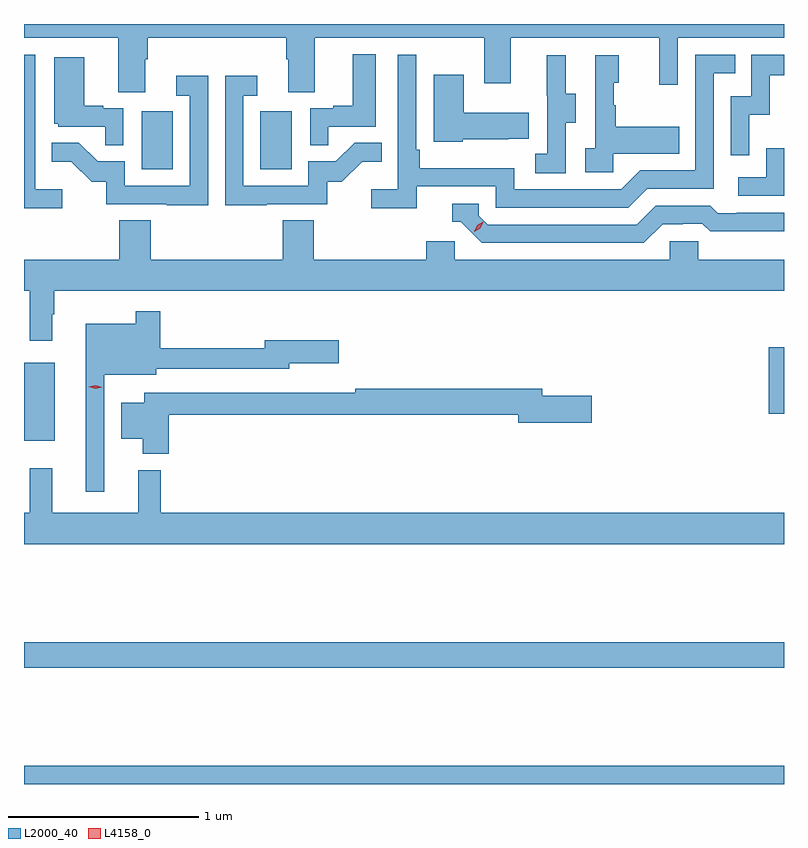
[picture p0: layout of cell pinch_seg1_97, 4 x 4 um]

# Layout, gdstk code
import gdstk
lib = gdstk.Library(unit=1e-6, precision=1e-09)
def R(c, l, rs):  # rectangles x0, y0, x1, y1
    for r in rs: c.add(gdstk.rectangle(r[:2], r[2:], *l))
def P(c, l, *ps):  # polygons
    for p in ps: c.add(gdstk.Polygon(p, *l))
L2000_40 = (2000, 40)
L4158_0 = (4158, 0)

pinch_seg1_97 = lib.new_cell('pinch_seg1_97')
R(pinch_seg1_97, L2000_40, [(1033.428,559.793,1037.428,559.888), (1033.428,560.404,1037.428,560.54), (1033.428,561.599,1033.591,562.009), (1037.348,561.743,1037.428,562.092), (1034.048,563.028,1034.212,563.335), (1034.672,563.028,1034.836,563.335)])
P(pinch_seg1_97, L2000_40, [(1033.428,563.72),(1033.925,563.72),(1033.925,563.434),(1034.065,563.434),(1034.065,563.608),(1034.078,563.608),(1034.078,563.72),(1034.807,563.72),(1034.807,563.608),(1034.819,563.608),(1034.819,563.434),(1034.959,563.434),(1034.959,563.72),(1035.851,563.72),(1035.851,563.481),(1035.991,563.481),(1035.991,563.72),(1036.772,563.72),(1036.772,563.472),(1036.869,563.472),(1036.869,563.72),(1037.428,563.72),(1037.428,563.793),(1033.428,563.793)],
  [(1035.029,563.253),(1035.28,563.253),(1035.28,563.635),(1035.158,563.635),(1035.158,563.362),(1035.055,563.362),(1035.055,563.349),(1034.934,563.349),(1034.934,563.155),(1035.029,563.155)],
  [(1035.494,562.938),(1035.912,562.938),(1035.912,562.827),(1036.609,562.827),(1036.708,562.926),(1037.058,562.926),(1037.058,563.535),(1037.171,563.535),(1037.171,563.631),(1036.962,563.631),(1036.962,563.022),(1036.671,563.022),(1036.572,562.923),(1036.008,562.923),(1036.008,563.035),(1035.512,563.035),(1035.512,563.131),(1035.492,563.131),(1035.492,563.632),(1035.396,563.632),(1035.396,562.924),(1035.255,562.924),(1035.255,562.822),(1035.494,562.822)],
  [(1033.63,562.924),(1033.488,562.924),(1033.488,563.632),(1033.428,563.632),(1033.428,562.822),(1033.63,562.822)],
  [(1037.244,563.315),(1037.353,563.315),(1037.353,563.523),(1037.428,563.523),(1037.428,563.631),(1037.256,563.631),(1037.256,563.412),(1037.148,563.412),(1037.148,563.103),(1037.244,563.103)],
  [(1036.278,563.272),(1036.333,563.272),(1036.333,563.427),(1036.279,563.427),(1036.279,563.629),(1036.18,563.629),(1036.18,563.415),(1036.182,563.415),(1036.182,563.111),(1036.119,563.111),(1036.119,563.008),(1036.278,563.008)],
  [(1036.53,563.111),(1036.877,563.111),(1036.877,563.251),(1036.543,563.251),(1036.543,563.366),(1036.533,563.366),(1036.533,563.484),(1036.558,563.484),(1036.558,563.629),(1036.434,563.629),(1036.434,563.138),(1036.382,563.138),(1036.382,563.013),(1036.53,563.013)],
  [(1033.95,563.349),(1033.844,563.349),(1033.844,563.362),(1033.744,563.362),(1033.744,563.617),(1033.586,563.617),(1033.586,563.268),(1033.608,563.268),(1033.608,563.253),(1033.855,563.253),(1033.855,563.155),(1033.95,563.155)],
  [(1035.738,563.186),(1035.977,563.186),(1035.977,563.189),(1036.085,563.189),(1036.085,563.326),(1035.742,563.326),(1035.742,563.527),(1035.584,563.527),(1035.584,563.174),(1035.738,563.174)],
  [(1034.705,562.845),(1035.024,562.845),(1035.024,562.962),(1035.1,562.962),(1035.207,563.069),(1035.311,563.069),(1035.311,563.168),(1035.168,563.168),(1035.07,563.07),(1034.925,563.07),(1034.925,562.941),(1034.583,562.941),(1034.583,563.415),(1034.656,563.415),(1034.656,563.521),(1034.487,563.521),(1034.487,562.84),(1034.705,562.84)],
  [(1034.397,563.521),(1034.228,563.521),(1034.228,563.415),(1034.301,563.415),(1034.301,562.941),(1033.959,562.941),(1033.959,563.07),(1033.815,563.07),(1033.717,563.168),(1033.573,563.168),(1033.573,563.069),(1033.677,563.069),(1033.784,562.962),(1033.861,562.962),(1033.861,562.845),(1034.179,562.845),(1034.179,562.84),(1034.397,562.84)],
  [(1037.428,563.14),(1037.334,563.14),(1037.334,562.986),(1037.187,562.986),(1037.187,562.89),(1037.428,562.89)],
  [(1036.789,562.74),(1036.896,562.74),(1036.896,562.743),(1036.999,562.743),(1037.041,562.701),(1037.274,562.701),(1037.274,562.703),(1037.428,562.703),(1037.428,562.8),(1037.179,562.8),(1037.179,562.797),(1037.08,562.797),(1037.041,562.836),(1036.752,562.836),(1036.653,562.737),(1035.87,562.737),(1035.822,562.785),(1035.822,562.848),(1035.683,562.848),(1035.683,562.752),(1035.726,562.752),(1035.837,562.641),(1036.69,562.641)],
  [(1033.576,562.265),(1033.588,562.265),(1033.588,562.388),(1037.428,562.388),(1037.428,562.552),(1036.977,562.552),(1036.977,562.65),(1036.827,562.65),(1036.827,562.552),(1035.696,562.552),(1035.696,562.65),(1035.545,562.65),(1035.545,562.552),(1034.954,562.552),(1034.954,562.76),(1034.789,562.76),(1034.789,562.552),(1034.096,562.552),(1034.096,562.76),(1033.93,562.76),(1033.93,562.552),(1033.428,562.552),(1033.428,562.388),(1033.459,562.388),(1033.459,562.125),(1033.576,562.125)],
  [(1033.851,561.947),(1034.125,561.947),(1034.125,561.978),(1034.824,561.978),(1034.824,562.007),(1035.085,562.007),(1035.085,562.129),(1034.696,562.129),(1034.696,562.087),(1034.144,562.087),(1034.144,562.282),(1034.016,562.282),(1034.016,562.216),(1033.754,562.216),(1033.754,561.33),(1033.851,561.33)],
  [(1034.189,561.736),(1036.028,561.736),(1036.028,561.694),(1036.417,561.694),(1036.417,561.836),(1036.156,561.836),(1036.156,561.872),(1035.172,561.872),(1035.172,561.853),(1034.92,561.853),(1034.92,561.852),(1034.06,561.852),(1034.06,561.799),(1033.94,561.799),(1033.94,561.611),(1034.054,561.611),(1034.054,561.53),(1034.189,561.53)],
  [(1037.428,561.22),(1034.147,561.22),(1034.147,561.445),(1034.03,561.445),(1034.03,561.22),(1033.577,561.22),(1033.577,561.454),(1033.459,561.454),(1033.459,561.22),(1033.428,561.22),(1033.428,561.056),(1037.428,561.056)])
P(pinch_seg1_97, L4158_0, [(1033.804,561.872),(1033.77,561.884),(1033.769,561.884),(1033.77,561.884),(1033.805,561.892),(1033.84,561.881),(1033.841,561.881),(1033.84,561.881)],
  [(1035.798,562.7),(1035.798,562.7),(1035.814,562.733),(1035.844,562.752),(1035.845,562.752),(1035.845,562.752),(1035.829,562.719),(1035.798,562.7)])

lib.write_gds('pinch_seg1_97.gds')
